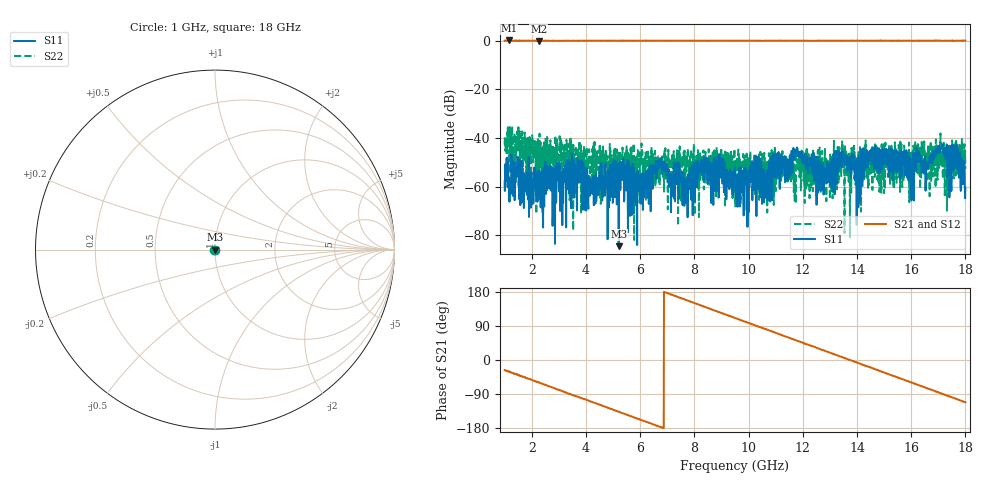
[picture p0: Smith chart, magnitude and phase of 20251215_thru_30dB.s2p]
#  HZ  S  DB  R  50.00
! Rohde & Schwarz ZVA40 4Ports - Version 4.11 - 1145.1110k42 SN: 100337
! Date: 2025-12-16 12:53:27
! Measurements: S11 S41 S14 S44
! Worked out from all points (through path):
!   1701 points, 1 GHz to 18 GHz, reference 50 ohm
!   highest |S21| = 0.15 dB at 1.15 GHz (marker M1); lowest = -0.1 dB at 2.26 GHz (marker M2)
!   group delay of S21, straight-line fit = 72.7 ps
!   lowest |S11| = -84.4 dB at 5.21 GHz (marker M3), VSWR 1.00, Z = 50 - j0.006 ohm
!   |S11| at or under -10 dB: start of sweep to end of sweep
!   |S22| runs from -81.9 to -34.9 dB; largest |S21 - S12| = 0.028
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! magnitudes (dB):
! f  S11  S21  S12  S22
! 1 GHz  -57.8  0.0  0.0  -42.6
! 1.15 GHz  -56.0  0.1  0.0  -37.8
! 2.26 GHz  -53.3  -0.1  0.0  -45.0
! 3.84 GHz  -48.9  0.1  0.0  -45.5
! 4.01 GHz  -69.8  0.0  0.0  -53.2
! 5.21 GHz  -84.4  0.0  0.0  -51.5
! 6.18 GHz  -58.0  0.1  0.0  -47.6
! 6.67 GHz  -52.2  0.0  0.0  -47.5
! 7.64 GHz  -62.6  0.0  0.0  -45.1
! 8.32 GHz  -49.2  0.0  0.0  -45.3
! 9.5 GHz  -51.9  0.0  0.0  -55.5
! 10.64 GHz  -60.6  0.1  0.0  -50.0
! 11.73 GHz  -44.9  0.1  0.0  -55.4
! 12.34 GHz  -50.5  0.0  0.0  -48.7
! 12.56 GHz  -62.4  0.0  0.0  -44.9
! 13.55 GHz  -47.5  0.0  0.0  -45.0
! 14.05 GHz  -68.5  0.0  0.0  -45.9
! 14.29 GHz  -44.7  0.0  0.0  -43.3
! 15.17 GHz  -55.9  0.1  0.0  -51.1
! 16.02 GHz  -54.6  0.0  0.0  -47.6
! 17.09 GHz  -43.6  0.0  0.0  -45.8
! 18 GHz  -60.2  0.1  0.0  -52.6
